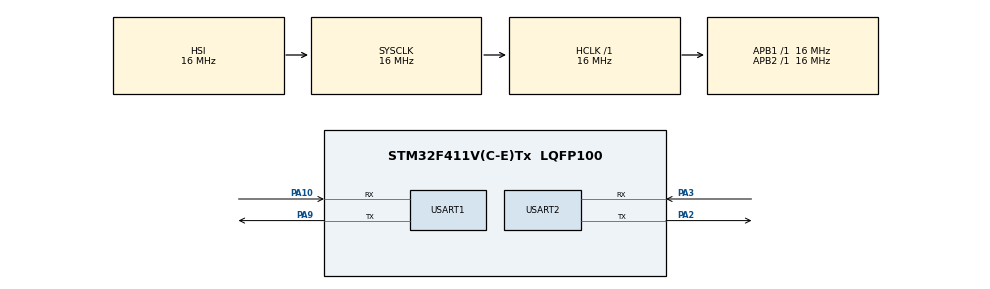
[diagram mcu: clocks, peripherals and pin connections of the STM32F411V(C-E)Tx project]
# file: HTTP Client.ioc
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Mcu.Family=STM32F4
Mcu.Name=STM32F411V(C-E)Tx
Mcu.Package=LQFP100
NVIC.PriorityGroup=NVIC_PRIORITYGROUP_4
NVIC.USART2_IRQn=true\:0\:0\:false\:false\:true\:true\:true
PA10.Mode=Asynchronous
PA10.Signal=USART1_RX
PA13.Mode=Serial_Wire
PA13.Signal=SYS_JTMS-SWDIO
PA14.Mode=Serial_Wire
PA14.Signal=SYS_JTCK-SWCLK
PA2.Mode=Asynchronous
PA2.Signal=USART2_TX
PA3.Mode=Asynchronous
PA3.Signal=USART2_RX
PA9.Mode=Asynchronous
PA9.Signal=USART1_TX
ProjectManager.HeapSize=0x200
ProjectManager.StackSize=0x400
ProjectManager.TargetToolchain=STM32CubeIDE
RCC.AHBFreq_Value=16000000
RCC.APB1Freq_Value=16000000
RCC.APB2Freq_Value=16000000
RCC.CortexFreq_Value=16000000
RCC.HSE_VALUE=25000000
RCC.HSI_VALUE=16000000
RCC.LSE_VALUE=32768
RCC.SYSCLKFreq_VALUE=16000000
RCC.VCOOutputFreq_Value=192000000
USART1.VirtualMode=VM_ASYNC
USART2.VirtualMode=VM_ASYNC
board=custom

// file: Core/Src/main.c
/* USER CODE BEGIN Header */
/**
  ******************************************************************************
  * @file           : main.c
  * @brief          : Main program body
  ******************************************************************************
  * @attention
  *
  * <h2><center>&copy; Copyright (c) 2021 STMicroelectronics.
  * All rights reserved.</center></h2>
  *
  * This software component is licensed by ST under BSD 3-Clause license,
  * the "License"; You may not use this file except in compliance with the
  * License. You may obtain a copy of the License at:
  *                        opensource.org/licenses/BSD-3-Clause
  *
  ******************************************************************************
  */
/* USER CODE END Header */
#include "main.h"

/* USER CODE BEGIN Includes */
#include "HTTPClient_STM32.h"
/* USER CODE END Includes */

UART_HandleTypeDef huart1;
UART_HandleTypeDef huart2;

/* USER CODE BEGIN PV */
uint8_t Sim_RSSI = 0;
extern uint8_t Sim_Rxbyte[1];
extern uint8_t HTTP_DataToGet[MAX_RECVBUF_LEN];
char HTTPServer_URL[100] = "http://google.com.vn";
/* USER CODE END PV */

void SystemClock_Config(void);
static void MX_GPIO_Init(void);
static void MX_USART1_UART_Init(void);
static void MX_USART2_UART_Init(void);

int main(void)
{

  /* MCU Configuration--------------------------------------------------------*/

  /* Reset of all peripherals, Initializes the Flash interface and the Systick. */
  HAL_Init();

  /* Configure the system clock */
  SystemClock_Config();

  /* Initialize all configured peripherals */
  MX_GPIO_Init();
  MX_USART1_UART_Init();
  MX_USART2_UART_Init();
  /* USER CODE BEGIN 2 */
  HAL_UART_Receive_IT(&SIM_UART, Sim_Rxbyte, 1);
  if(Sim_checkOK() == RET_OK)
  {
	  Sim_RSSI = Sim_getSignalQuality();
	  if(Sim_RSSI != 99) //99 <=> error
	  {
		  if(Sim_configInternet(APN, APN_USER, APN_PASS) == RET_OK)
		  {
			  if(Sim_connectInternet() == RET_OK)
			  {
				  if(HTTP_configParams() == RET_OK)
				  {
					  if(HTTP_sendGETRequest(HTTPServer_URL) == RET_OK)
					  {
						  if(HTTP_readGETResponse((char*)HTTP_DataToGet) == RET_OK)
						  {
							  #if (SIM_DEBUG == 1)
							  	  printf("%s\r\n",HTTP_DataToGet);
							  #endif
						  }
					  }
				  }
			  }
		  }
	  }
  }

  /* USER CODE END 2 */

  /* Infinite loop */
  while (1)
  {

  }
}

void SystemClock_Config(void)
{
  RCC_OscInitTypeDef RCC_OscInitStruct = {0};
  RCC_ClkInitTypeDef RCC_ClkInitStruct = {0};

  /** Configure the main internal regulator output voltage
  */
  __HAL_RCC_PWR_CLK_ENABLE();
  __HAL_PWR_VOLTAGESCALING_CONFIG(PWR_REGULATOR_VOLTAGE_SCALE1);
  /** Initializes the RCC Oscillators according to the specified parameters
  * in the RCC_OscInitTypeDef structure.
  */
  RCC_OscInitStruct.OscillatorType = RCC_OSCILLATORTYPE_HSI;
  RCC_OscInitStruct.HSIState = RCC_HSI_ON;
  RCC_OscInitStruct.HSICalibrationValue = RCC_HSICALIBRATION_DEFAULT;
  RCC_OscInitStruct.PLL.PLLState = RCC_PLL_NONE;
  if (HAL_RCC_OscConfig(&RCC_OscInitStruct) != HAL_OK)
  {
    Error_Handler();
  }
  /** Initializes the CPU, AHB and APB buses clocks
  */
  RCC_ClkInitStruct.ClockType = RCC_CLOCKTYPE_HCLK|RCC_CLOCKTYPE_SYSCLK
                              |RCC_CLOCKTYPE_PCLK1|RCC_CLOCKTYPE_PCLK2;
  RCC_ClkInitStruct.SYSCLKSource = RCC_SYSCLKSOURCE_HSI;
  RCC_ClkInitStruct.AHBCLKDivider = RCC_SYSCLK_DIV1;
  RCC_ClkInitStruct.APB1CLKDivider = RCC_HCLK_DIV1;
  RCC_ClkInitStruct.APB2CLKDivider = RCC_HCLK_DIV1;

  if (HAL_RCC_ClockConfig(&RCC_ClkInitStruct, FLASH_LATENCY_0) != HAL_OK)
  {
    Error_Handler();
  }
}

static void MX_USART1_UART_Init(void)
{

  huart1.Instance = USART1;
  huart1.Init.BaudRate = 115200;
  huart1.Init.WordLength = UART_WORDLENGTH_8B;
  huart1.Init.StopBits = UART_STOPBITS_1;
  huart1.Init.Parity = UART_PARITY_NONE;
  huart1.Init.Mode = UART_MODE_TX_RX;
  huart1.Init.HwFlowCtl = UART_HWCONTROL_NONE;
  huart1.Init.OverSampling = UART_OVERSAMPLING_16;
  if (HAL_UART_Init(&huart1) != HAL_OK)
  {
    Error_Handler();
  }

}

static void MX_USART2_UART_Init(void)
{

  huart2.Instance = USART2;
  huart2.Init.BaudRate = 115200;
  huart2.Init.WordLength = UART_WORDLENGTH_8B;
  huart2.Init.StopBits = UART_STOPBITS_1;
  huart2.Init.Parity = UART_PARITY_NONE;
  huart2.Init.Mode = UART_MODE_TX_RX;
  huart2.Init.HwFlowCtl = UART_HWCONTROL_NONE;
  huart2.Init.OverSampling = UART_OVERSAMPLING_16;
  if (HAL_UART_Init(&huart2) != HAL_OK)
  {
    Error_Handler();
  }

}

static void MX_GPIO_Init(void)
{

  /* GPIO Ports Clock Enable */
  __HAL_RCC_GPIOA_CLK_ENABLE();

}

void Error_Handler(void)
{
  __disable_irq();
  while (1)
  {
  }
}

/************************ (C) COPYRIGHT STMicroelectronics *****END OF FILE****/
